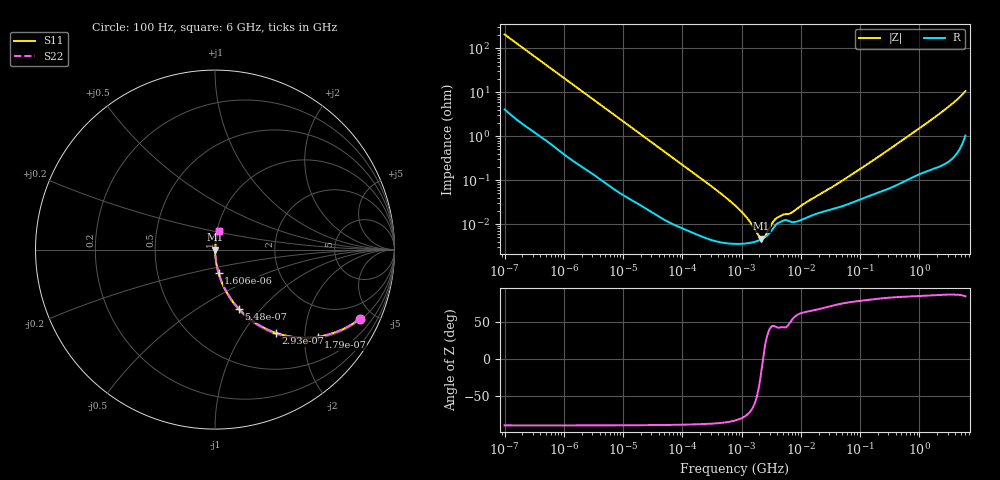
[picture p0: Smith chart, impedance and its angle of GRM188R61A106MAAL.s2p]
!Murata Part Number: GRM188R61A106MAAL
!These Parameters are Measured in Series Mode Connection
!Data Generated on Mar 30, 2021
!  o--ll--o
!Port1  Port2
!  o------o
!Operation Temp=25[degC], DC Bias Voltage=0[V]
!Freq. Start=100[Hz] Stop=6[GHz] 401[Steps]
# Hz S RI R 50
!Freq.(Hz) S11(Real) S11(Imag) S21(Real) S21(Imag) S12(Real) S12(Imag) S22(Real) S22(Imag)
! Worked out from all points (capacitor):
!   401 points, 100 Hz to 6 GHz, reference 50 ohm
!   read as one part in series: C = 7.65 uF near 109 Hz
!   lowest |Z| = 4.67 mohm at 2.169 MHz (marker M1)
!   series resonance near 2.298 MHz, so ESL is about 630 pH
!   S11 on the Smith chart (normalised r, x): 100 Hz: 1.08, -4.14; 179 Hz: 1.04, -2.33; 293 Hz: 1.03, -1.43; 548 Hz: 1.01, -0.77; 1.606 kHz: 1.00, -0.27; 6 GHz: 1.02, +0.21
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100  0.8062 -0.3855  0.1938 0.3855  0.1938 0.3855  0.8062 -0.3855
179  0.5743 -0.4854  0.4257 0.4854  0.4257 0.4854  0.5743 -0.4854
293  0.3414 -0.465  0.6586 0.465  0.6586 0.465  0.3414 -0.465
548  0.1339 -0.3312  0.8661 0.3312  0.8661 0.3312  0.1339 -0.3312
897  0.0568 -0.2224  0.9432 0.2224  0.9432 0.2224  0.0568 -0.2224
1606  0.0197 -0.1302  0.9803 0.1302  0.9803 0.1302  0.0197 -0.1302
2008  0.0132 -0.1051  0.9868 0.1051  0.9868 0.1051  0.0132 -0.1051
6433  0.00181 -0.0337  0.9982 0.0337  0.9982 0.0337  0.00181 -0.0337
40335  0.000178 -0.00552  0.9998 0.00552  0.9998 0.00552  0.000178 -0.00552
316350  4.36e-05 -0.000712  1 0.000712  1 0.000712  4.36e-05 -0.000712
774597  3.55e-05 -0.000265  1 0.000265  1 0.000265  3.55e-05 -0.000265
1449809  3.78e-05 -9.67e-05  1 9.67e-05  1 9.67e-05  3.78e-05 -9.67e-05
1585629  3.88e-05 -7.71e-05  1 7.71e-05  1 7.71e-05  3.88e-05 -7.71e-05
2169299  4.52e-05 -1.18e-05  1 1.18e-05  1 1.18e-05  4.52e-05 -1.18e-05
3103719  6.74e-05 6.22e-05  0.9999 -6.22e-05  0.9999 -6.22e-05  6.74e-05 6.22e-05
4060267  0.000105 9.58e-05  0.9999 -9.58e-05  0.9999 -9.58e-05  0.000105 9.58e-05
6948629  0.000112 0.000143  0.9999 -0.000143  0.9999 -0.000143  0.000112 0.000143
1.555665e7  0.000159 0.000344  0.9998 -0.000344  0.9998 -0.000344  0.000159 0.000344
4.764863e7  0.000251 0.0009  0.9997 -0.0009  0.9997 -0.0009  0.000251 0.0009
3.124326e8  0.000675 0.00501  0.9993 -0.00501  0.9993 -0.00501  0.000675 0.00501
2.240541e9  0.00316 0.033  0.9968 -0.033  0.9968 -0.033  0.00316 0.033
6e9  0.0211 0.1028  0.9789 -0.1028  0.9789 -0.1028  0.0211 0.1028
